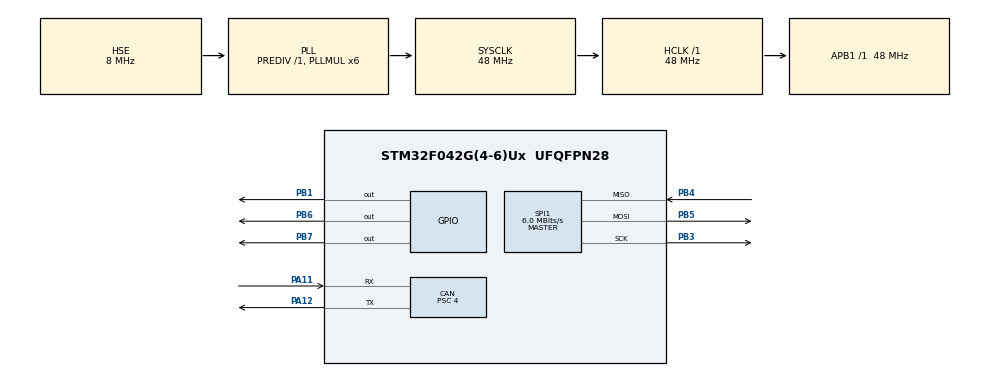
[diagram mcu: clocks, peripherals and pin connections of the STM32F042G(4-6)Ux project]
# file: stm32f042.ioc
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CAN.BS1=CAN_BS1_8TQ
CAN.BS2=CAN_BS2_3TQ
CAN.CalculateTimeQuantum=83.33333333333333
CAN.Prescaler=4
CAN.RFLM=ENABLE
CAN.TXFP=DISABLE
Mcu.Family=STM32F0
Mcu.Name=STM32F042G(4-6)Ux
Mcu.Package=UFQFPN28
NVIC.CEC_CAN_IRQn=true\:0\:0\:false\:false\:true\:false
NVIC.TIM2_IRQn=true\:0\:0\:true\:false\:true\:true
PA11.Mode=Master
PA11.Signal=CAN_RX
PA12.Mode=Master
PA12.Signal=CAN_TX
PA13.Mode=Serial_Wire
PA13.Signal=SYS_SWDIO
PA14.Mode=Serial_Wire
PA14.Signal=SYS_SWCLK
PB1.GPIO_PuPd=GPIO_NOPULL
PB1.GPIO_Speed=GPIO_SPEED_FREQ_HIGH
PB1.PinState=GPIO_PIN_RESET
PB1.Signal=GPIO_Output
PB3.Mode=Full_Duplex_Master
PB3.Signal=SPI1_SCK
PB4.Mode=Full_Duplex_Master
PB4.Signal=SPI1_MISO
PB5.Mode=Full_Duplex_Master
PB5.Signal=SPI1_MOSI
PB6.GPIO_PuPd=GPIO_PULLUP
PB6.GPIO_Speed=GPIO_SPEED_FREQ_HIGH
PB6.PinState=GPIO_PIN_SET
PB6.Signal=GPIO_Output
PB7.GPIO_ModeDefaultOutputPP=GPIO_MODE_OUTPUT_PP
PB7.GPIO_PuPd=GPIO_PULLUP
PB7.GPIO_Speed=GPIO_SPEED_FREQ_HIGH
PB7.PinState=GPIO_PIN_SET
PB7.Signal=GPIO_Output
PF0-OSC_IN.Mode=HSE-External-Oscillator
PF0-OSC_IN.Signal=RCC_OSC_IN
PF1-OSC_OUT.Mode=HSE-External-Oscillator
PF1-OSC_OUT.Signal=RCC_OSC_OUT
ProjectManager.HeapSize=0x200
ProjectManager.StackSize=0x400
ProjectManager.TargetToolchain=MDK-ARM V5
RCC.AHBFreq_Value=48000000
RCC.APB1Freq_Value=48000000
RCC.APB1TimFreq_Value=48000000
RCC.HCLKFreq_Value=48000000
RCC.I2c1ClockSelection=RCC_I2C1CLKSOURCE_SYSCLK
RCC.PLLMUL=RCC_PLL_MUL6
RCC.PLLSourceVirtual=RCC_PLLSOURCE_HSE
RCC.SYSCLKFreq_VALUE=48000000
RCC.SYSCLKSource=RCC_SYSCLKSOURCE_PLLCLK
SPI1.BaudRatePrescaler=SPI_BAUDRATEPRESCALER_8
SPI1.CLKPhase=SPI_PHASE_2EDGE
SPI1.CLKPolarity=SPI_POLARITY_HIGH
SPI1.CRCCalculation=SPI_CRCCALCULATION_DISABLE
SPI1.CalculateBaudRate=6.0 MBits/s
SPI1.DataSize=SPI_DATASIZE_8BIT
SPI1.Direction=SPI_DIRECTION_2LINES
SPI1.Mode=SPI_MODE_MASTER
SPI1.VirtualType=VM_MASTER
TIM2.Period=3
TIM2.Prescaler=11
VP_SYS_VS_PINREMAP.Mode=PINREMAP
VP_TIM2_VS_ClockSourceINT.Mode=Internal
board=custom

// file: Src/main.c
/**
  ******************************************************************************
  * @file           : main.c
  * @brief          : Main program body
  ******************************************************************************
  ** This notice applies to any and all portions of this file
  * that are not between comment pairs USER CODE BEGIN and
  * USER CODE END. Other portions of this file, whether
  * inserted by the user or by software development tools
  * are owned by their respective copyright owners.
  *
  * COPYRIGHT(c) 2018 STMicroelectronics
  *
  * Redistribution and use in source and binary forms, with or without modification,
  * are permitted provided that the following conditions are met:
  *   1. Redistributions of source code must retain the above copyright notice,
  *      this list of conditions and the following disclaimer.
  *   2. Redistributions in binary form must reproduce the above copyright notice,
  *      this list of conditions and the following disclaimer in the documentation
  *      and/or other materials provided with the distribution.
  *   3. Neither the name of STMicroelectronics nor the names of its contributors
  *      may be used to endorse or promote products derived from this software
  *      without specific prior written permission.
  *
  * THIS SOFTWARE IS PROVIDED BY THE COPYRIGHT HOLDERS AND CONTRIBUTORS "AS IS"
  * AND ANY EXPRESS OR IMPLIED WARRANTIES, INCLUDING, BUT NOT LIMITED TO, THE
  * IMPLIED WARRANTIES OF MERCHANTABILITY AND FITNESS FOR A PARTICULAR PURPOSE ARE
  * DISCLAIMED. IN NO EVENT SHALL THE COPYRIGHT HOLDER OR CONTRIBUTORS BE LIABLE
  * FOR ANY DIRECT, INDIRECT, INCIDENTAL, SPECIAL, EXEMPLARY, OR CONSEQUENTIAL
  * DAMAGES (INCLUDING, BUT NOT LIMITED TO, PROCUREMENT OF SUBSTITUTE GOODS OR
  * SERVICES; LOSS OF USE, DATA, OR PROFITS; OR BUSINESS INTERRUPTION) HOWEVER
  * CAUSED AND ON ANY THEORY OF LIABILITY, WHETHER IN CONTRACT, STRICT LIABILITY,
  * OR TORT (INCLUDING NEGLIGENCE OR OTHERWISE) ARISING IN ANY WAY OUT OF THE USE
  * OF THIS SOFTWARE, EVEN IF ADVISED OF THE POSSIBILITY OF SUCH DAMAGE.
  *
  ******************************************************************************
  */
#include "main.h"
#include "stm32f0xx_hal.h"
#include "icm20602.h"
#include "i2c.h"
#include "ist8310.h"
#include "timer.h"
//#include "matrix.h"
#include "can.h"

CAN_HandleTypeDef hcan;

SPI_HandleTypeDef hspi1;

TIM_HandleTypeDef htim2;

/* USER CODE BEGIN PV */
/* Private variables ---------------------------------------------------------*/
uint32_t sys_clock;
uint32_t hclk_clock;
uint32_t pclk1_clock;
extern magnetometer_t mag_data;
float gyro_bias[3];
float magYawCal(float mx,float my,float mz);
/* USER CODE END PV */

void SystemClock_Config(void);
static void MX_GPIO_Init(void);
static void MX_CAN_Init(void);
static void MX_SPI1_Init(void);
static void MX_TIM2_Init(void);
uint8_t IMU_init_flag = 0;
/* USER CODE BEGIN PFP */
/* Private function prototypes -----------------------------------------------*/

/* USER CODE END PFP */

int main(void)
{

  /* MCU Configuration----------------------------------------------------------*/

  /* Reset of all peripherals, Initializes the Flash interface and the Systick. */
  HAL_Init();

  /* Configure the system clock */
  SystemClock_Config();

  /* Initialize all configured peripherals */
  MX_GPIO_Init();
  MX_CAN_Init();
  MX_SPI1_Init();
  MX_TIM2_Init();

  /* USER CODE BEGIN 2 */
	while(icm20602_init())
	{
	}
	while(ist8310Init())
	{
	}
	icm_offset_call(gyro_bias);

  /* USER CODE END 2 */

  /* Infinite loop */
  while (1)
  {

  /* USER CODE BEGIN 3 */
	  sys_clock = HAL_RCC_GetSysClockFreq();   //均为48MHz
	  hclk_clock = HAL_RCC_GetHCLKFreq();
	  pclk1_clock = HAL_RCC_GetPCLK1Freq();

	  ist8310_ReadProcess();   //读取磁力计数据
	  magYawCal(mag_data.mx,mag_data.my,mag_data.mz);//根据磁力计数据解算姿态，梯度下降法
		IMU_init_flag = 1;
  }
  /* USER CODE END 3 */
}

void SystemClock_Config(void)
{

  RCC_OscInitTypeDef RCC_OscInitStruct;
  RCC_ClkInitTypeDef RCC_ClkInitStruct;

    /**Initializes the CPU, AHB and APB busses clocks
    */
  RCC_OscInitStruct.OscillatorType = RCC_OSCILLATORTYPE_HSE;
  RCC_OscInitStruct.HSEState = RCC_HSE_ON;
  RCC_OscInitStruct.PLL.PLLState = RCC_PLL_ON;
  RCC_OscInitStruct.PLL.PLLSource = RCC_PLLSOURCE_HSE;
  RCC_OscInitStruct.PLL.PLLMUL = RCC_PLL_MUL6;
  RCC_OscInitStruct.PLL.PREDIV = RCC_PREDIV_DIV1;
  if (HAL_RCC_OscConfig(&RCC_OscInitStruct) != HAL_OK)
  {
    _Error_Handler(__FILE__, __LINE__);
  }

    /**Initializes the CPU, AHB and APB busses clocks
    */
  RCC_ClkInitStruct.ClockType = RCC_CLOCKTYPE_HCLK|RCC_CLOCKTYPE_SYSCLK
                              |RCC_CLOCKTYPE_PCLK1;
  RCC_ClkInitStruct.SYSCLKSource = RCC_SYSCLKSOURCE_PLLCLK;
  RCC_ClkInitStruct.AHBCLKDivider = RCC_SYSCLK_DIV1;
  RCC_ClkInitStruct.APB1CLKDivider = RCC_HCLK_DIV1;

  if (HAL_RCC_ClockConfig(&RCC_ClkInitStruct, FLASH_LATENCY_1) != HAL_OK)
  {
    _Error_Handler(__FILE__, __LINE__);
  }

    /**Configure the Systick interrupt time
    */
  HAL_SYSTICK_Config(HAL_RCC_GetHCLKFreq()/1000);

    /**Configure the Systick
    */
  HAL_SYSTICK_CLKSourceConfig(SYSTICK_CLKSOURCE_HCLK);

  /* SysTick_IRQn interrupt configuration */
  HAL_NVIC_SetPriority(SysTick_IRQn, 0, 0);
}

CanTxMsgTypeDef     TxMessage;      //发送消息
CanRxMsgTypeDef     RxMessage;      //接收消息
/* CAN init function */
static void MX_CAN_Init(void)
{
	CAN_FilterConfTypeDef  CAN1_FilerConf;

	hcan.Instance = CAN;
	hcan.pTxMsg = &TxMessage;
	hcan.pRxMsg = &RxMessage;
	hcan.Init.Prescaler = 4;
	hcan.Init.Mode = CAN_MODE_NORMAL;
	hcan.Init.SJW = CAN_SJW_1TQ;
	hcan.Init.BS1 = CAN_BS1_8TQ;
	hcan.Init.BS2 = CAN_BS2_3TQ;
	hcan.Init.TTCM = DISABLE;
	hcan.Init.ABOM = ENABLE;
	hcan.Init.AWUM = ENABLE;
	hcan.Init.NART = ENABLE;
	hcan.Init.RFLM = DISABLE;
	hcan.Init.TXFP = ENABLE;
	if (HAL_CAN_Init(&hcan) != HAL_OK)
	{
	_Error_Handler(__FILE__, __LINE__);
	}

}

/* SPI1 init function */
static void MX_SPI1_Init(void)
{

  /* SPI1 parameter configuration*/
  hspi1.Instance = SPI1;
  hspi1.Init.Mode = SPI_MODE_MASTER;
  hspi1.Init.Direction = SPI_DIRECTION_2LINES;
  hspi1.Init.DataSize = SPI_DATASIZE_8BIT;
  hspi1.Init.CLKPolarity = SPI_POLARITY_HIGH;
  hspi1.Init.CLKPhase = SPI_PHASE_2EDGE;
  hspi1.Init.NSS = SPI_NSS_SOFT;
  hspi1.Init.BaudRatePrescaler = SPI_BAUDRATEPRESCALER_8;
  hspi1.Init.FirstBit = SPI_FIRSTBIT_MSB;
  hspi1.Init.TIMode = SPI_TIMODE_DISABLE;
  hspi1.Init.CRCCalculation = SPI_CRCCALCULATION_DISABLE;
  hspi1.Init.CRCPolynomial = 7;
  hspi1.Init.CRCLength = SPI_CRC_LENGTH_DATASIZE;
  hspi1.Init.NSSPMode = SPI_NSS_PULSE_DISABLE;
  if (HAL_SPI_Init(&hspi1) != HAL_OK)
  {
    _Error_Handler(__FILE__, __LINE__);
  }

}

/* TIM2 init function */
static void MX_TIM2_Init(void)
{

  TIM_ClockConfigTypeDef sClockSourceConfig;
  TIM_MasterConfigTypeDef sMasterConfig;

  htim2.Instance = TIM2;
  htim2.Init.Prescaler = 0;
  htim2.Init.CounterMode = TIM_COUNTERMODE_UP;
  htim2.Init.Period = 65535;
  htim2.Init.ClockDivision = TIM_CLOCKDIVISION_DIV1;
  htim2.Init.AutoReloadPreload = TIM_AUTORELOAD_PRELOAD_DISABLE;
  if (HAL_TIM_Base_Init(&htim2) != HAL_OK)
  {
    _Error_Handler(__FILE__, __LINE__);
  }
//  HAL_TIM_Base_Start_IT(&htim2);
  sClockSourceConfig.ClockSource = TIM_CLOCKSOURCE_INTERNAL;
  if (HAL_TIM_ConfigClockSource(&htim2, &sClockSourceConfig) != HAL_OK)
  {
    _Error_Handler(__FILE__, __LINE__);
  }

  sMasterConfig.MasterOutputTrigger = TIM_TRGO_RESET;
  sMasterConfig.MasterSlaveMode = TIM_MASTERSLAVEMODE_DISABLE;
  if (HAL_TIMEx_MasterConfigSynchronization(&htim2, &sMasterConfig) != HAL_OK)
  {
    _Error_Handler(__FILE__, __LINE__);
  }
//
// HAL_TIM_Base_Stop(&htim2);
}

/** Configure pins as
        * Analog
        * Input
        * Output
        * EVENT_OUT
        * EXTI
*/
static void MX_GPIO_Init(void)
{

  GPIO_InitTypeDef GPIO_InitStruct;

  /* GPIO Ports Clock Enable */
  __HAL_RCC_GPIOF_CLK_ENABLE();
  __HAL_RCC_GPIOB_CLK_ENABLE();
  __HAL_RCC_GPIOA_CLK_ENABLE();

  /*Configure GPIO pin Output Level */
  HAL_GPIO_WritePin(GPIOB, GPIO_PIN_1, GPIO_PIN_RESET);

  /*Configure GPIO pin Output Level */
  HAL_GPIO_WritePin(GPIOB, GPIO_PIN_6|GPIO_PIN_7, GPIO_PIN_SET);

  /*Configure GPIO pin : PB1 */
  GPIO_InitStruct.Pin = GPIO_PIN_1;
  GPIO_InitStruct.Mode = GPIO_MODE_OUTPUT_PP;
  GPIO_InitStruct.Pull = GPIO_NOPULL;
  GPIO_InitStruct.Speed = GPIO_SPEED_FREQ_HIGH;
  HAL_GPIO_Init(GPIOB, &GPIO_InitStruct);

  /*Configure GPIO pins : PB6 PB7 */
  GPIO_InitStruct.Pin = GPIO_PIN_6|GPIO_PIN_7;
  GPIO_InitStruct.Mode = GPIO_MODE_OUTPUT_PP;
  GPIO_InitStruct.Pull = GPIO_PULLUP;
  GPIO_InitStruct.Speed = GPIO_SPEED_FREQ_HIGH;
  HAL_GPIO_Init(GPIOB, &GPIO_InitStruct);
}

void _Error_Handler(char *file, int line)
{
  while(1)
  {
  }
}

/************************ (C) COPYRIGHT STMicroelectronics *****END OF FILE****/
